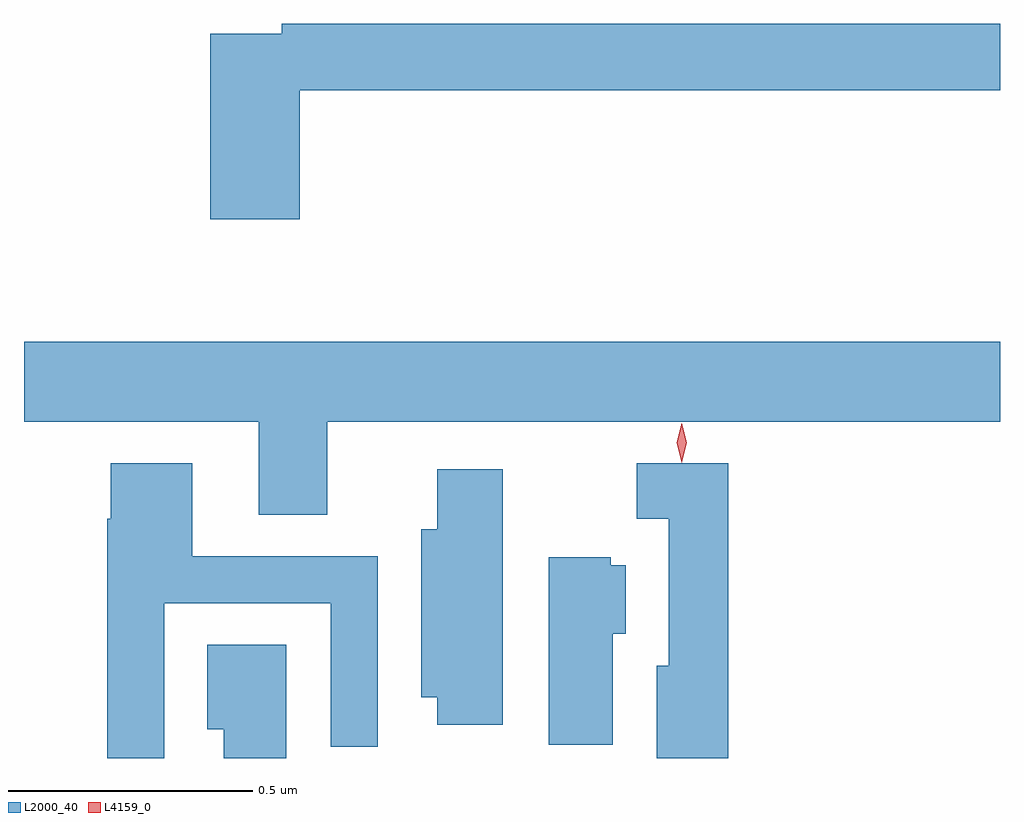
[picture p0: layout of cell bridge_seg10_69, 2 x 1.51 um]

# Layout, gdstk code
import gdstk
lib = gdstk.Library(unit=1e-6, precision=1e-09)
def P(c, l, *ps):  # polygons
    for p in ps: c.add(gdstk.Polygon(p, *l))
L2000_40 = (2000, 40)
L4159_0 = (4159, 0)

bridge_seg10_69 = lib.new_cell('bridge_seg10_69')
P(bridge_seg10_69, L2000_40, [(781.565,1251.712),(783,1251.712),(783,1251.848),(781.528,1251.848),(781.528,1251.828),(781.382,1251.828),(781.382,1251.447),(781.565,1251.447)],
  [(781.621,1251.032),(783,1251.032),(783,1251.196),(781,1251.196),(781,1251.032),(781.481,1251.032),(781.481,1250.842),(781.621,1250.842)],
  [(782.443,1250.947),(782.256,1250.947),(782.256,1250.834),(782.321,1250.834),(782.321,1250.532),(782.297,1250.532),(782.297,1250.343),(782.443,1250.343)],
  [(781.287,1250.661),(781.629,1250.661),(781.629,1250.367),(781.725,1250.367),(781.725,1250.757),(781.345,1250.757),(781.345,1250.947),(781.178,1250.947),(781.178,1250.834),(781.171,1250.834),(781.171,1250.343),(781.287,1250.343)],
  [(781.981,1250.935),(781.847,1250.935),(781.847,1250.812),(781.814,1250.812),(781.814,1250.468),(781.847,1250.468),(781.847,1250.412),(781.981,1250.412)],
  [(782.206,1250.598),(782.233,1250.598),(782.233,1250.738),(782.202,1250.738),(782.202,1250.755),(782.075,1250.755),(782.075,1250.371),(782.206,1250.371)],
  [(781.537,1250.576),(781.376,1250.576),(781.376,1250.402),(781.409,1250.402),(781.409,1250.343),(781.537,1250.343)])
P(bridge_seg10_69, L4159_0, [(782.348,1250.948),(782.348,1250.948),(782.338,1250.989),(782.348,1251.029),(782.348,1251.029),(782.348,1251.029),(782.358,1250.989),(782.348,1250.948)])

lib.write_gds('bridge_seg10_69.gds')
